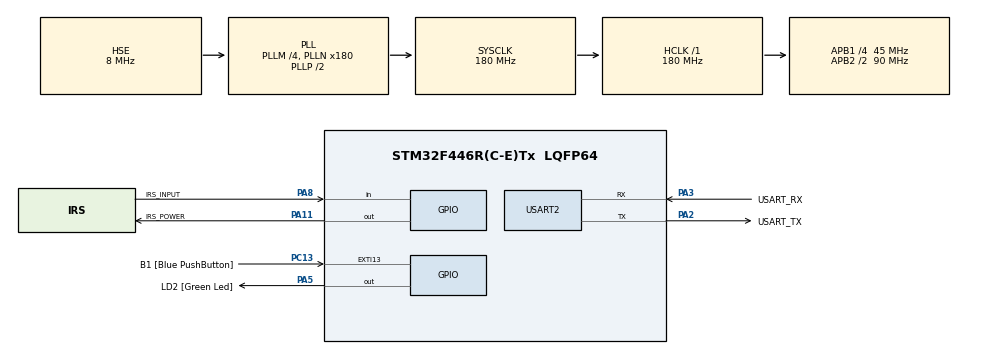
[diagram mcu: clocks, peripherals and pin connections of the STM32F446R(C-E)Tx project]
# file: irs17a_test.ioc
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Mcu.Family=STM32F4
Mcu.Name=STM32F446R(C-E)Tx
Mcu.Package=LQFP64
NVIC.PriorityGroup=NVIC_PRIORITYGROUP_0
NVIC.TIM1_UP_TIM10_IRQn=true\:0\:0\:false\:false\:true\:true\:true\:true
PA11.GPIO_Label=IRS_POWER
PA11.Signal=GPIO_Output
PA13.GPIO_Label=TMS
PA13.Mode=Serial_Wire
PA13.Signal=SYS_JTMS-SWDIO
PA14.GPIO_Label=TCK
PA14.Mode=Serial_Wire
PA14.Signal=SYS_JTCK-SWCLK
PA2.GPIO_Label=USART_TX
PA2.Mode=Asynchronous
PA2.Signal=USART2_TX
PA3.GPIO_Label=USART_RX
PA3.Mode=Asynchronous
PA3.Signal=USART2_RX
PA5.GPIO_Label=LD2 [Green Led]
PA5.Signal=GPIO_Output
PA8.GPIO_Label=IRS_INPUT
PA8.Signal=GPIO_Input
PB3.GPIO_Label=SWO
PB3.Signal=SYS_JTDO-SWO
PC13.GPIO_Label=B1 [Blue PushButton]
PC13.GPIO_ModeDefaultEXTI=GPIO_MODE_IT_FALLING
PC13.Signal=GPXTI13
PC14-OSC32_IN.Mode=LSE-External-Oscillator
PC14-OSC32_IN.Signal=RCC_OSC32_IN
PC15-OSC32_OUT.Mode=LSE-External-Oscillator
PC15-OSC32_OUT.Signal=RCC_OSC32_OUT
PH0-OSC_IN.Mode=HSE-External-Clock-Source
PH0-OSC_IN.Signal=RCC_OSC_IN
PH1-OSC_OUT.Mode=HSE-External-Clock-Source
PH1-OSC_OUT.Signal=RCC_OSC_OUT
ProjectManager.HeapSize=0x200
ProjectManager.StackSize=0x400
ProjectManager.TargetToolchain=STM32CubeIDE
RCC.48MHZClocksFreq_Value=84000000
RCC.AHBFreq_Value=180000000
RCC.APB1CLKDivider=RCC_HCLK_DIV4
RCC.APB1Freq_Value=45000000
RCC.APB1TimFreq_Value=90000000
RCC.APB2CLKDivider=RCC_HCLK_DIV2
RCC.APB2Freq_Value=90000000
RCC.APB2TimFreq_Value=180000000
RCC.CortexFreq_Value=180000000
RCC.FLatency-AdvancedSettings=FLASH_LATENCY_5
RCC.HCLKFreq_Value=180000000
RCC.HSE_VALUE=8000000
RCC.HSI_VALUE=16000000
RCC.PLLM=4
RCC.PLLN=180
RCC.PLLSourceVirtual=RCC_PLLSOURCE_HSE
RCC.SYSCLKFreq_VALUE=180000000
RCC.SYSCLKSource=RCC_SYSCLKSOURCE_PLLCLK
RCC.USBFreq_Value=180000000
RCC.VCOOutputFreq_Value=360000000
TIM10.Period=10-1
TIM10.Prescaler=18-1
USART2.VirtualMode=VM_ASYNC
VP_TIM10_VS_ClockSourceINT.Mode=Enable_Timer
board=NUCLEO-F446RE

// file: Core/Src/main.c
/* USER CODE BEGIN Header */
/**
  ******************************************************************************
  * @file           : main.c
  * @brief          : Main program body
  ******************************************************************************
  * @attention
  *
  * Copyright (c) 2023 STMicroelectronics.
  * All rights reserved.
  *
  * This software is licensed under terms that can be found in the LICENSE file
  * in the root directory of this software component.
  * If no LICENSE file comes with this software, it is provided AS-IS.
  *
  ******************************************************************************
  */
/* USER CODE END Header */
#include "main.h"

/* USER CODE BEGIN Includes */
#include "stdio.h"
#include "stdbool.h"
/* USER CODE END Includes */

TIM_HandleTypeDef htim10;

UART_HandleTypeDef huart2;

void SystemClock_Config(void);
static void MX_GPIO_Init(void);
static void MX_USART2_UART_Init(void);
static void MX_TIM10_Init(void);
/* USER CODE BEGIN PFP */
float irs19a_process(int);
/* USER CODE END PFP */

/* USER CODE BEGIN 0 */
int __io_putchar(int ch) {
    HAL_UART_Transmit(&huart2, (uint8_t *)&ch, 1, 100);
    return ch;
}
bool before_high = false;
int sensor_high_counter = 0;
int distance_data[] = {0,0,0,0,0};
/* USER CODE END 0 */

int main(void)
{

  /* MCU Configuration--------------------------------------------------------*/

  /* Reset of all peripherals, Initializes the Flash interface and the Systick. */
  HAL_Init();

  /* Configure the system clock */
  SystemClock_Config();

  /* Initialize all configured peripherals */
  MX_GPIO_Init();
  MX_USART2_UART_Init();
  MX_TIM10_Init();
  /* USER CODE BEGIN 2 */
  HAL_TIM_Base_Start_IT(&htim10);
//  HAL_TIM_IC_Start_IT(&htim1, TIM_CHANNEL_1);
//  HAL_TIM_IC_Start(&htim1, TIM_CHANNEL_2);
  HAL_GPIO_WritePin(IRS_POWER_GPIO_Port, IRS_POWER_Pin, GPIO_PIN_SET);
//  int a, b;
  /* USER CODE END 2 */

  /* Infinite loop */
  /* USER CODE BEGIN WHILE */
  while (1)
  {
//	  a = TIM1->CCR1;
//	  b = TIM1->CCR2;
//	  printf("%d, %d\n\r", a, b);
//	  HAL_Delay(10);
    /* USER CODE END WHILE */

  }
}

void SystemClock_Config(void)
{
  RCC_OscInitTypeDef RCC_OscInitStruct = {0};
  RCC_ClkInitTypeDef RCC_ClkInitStruct = {0};

  /** Configure the main internal regulator output voltage
  */
  __HAL_RCC_PWR_CLK_ENABLE();
  __HAL_PWR_VOLTAGESCALING_CONFIG(PWR_REGULATOR_VOLTAGE_SCALE1);

  /** Initializes the RCC Oscillators according to the specified parameters
  * in the RCC_OscInitTypeDef structure.
  */
  RCC_OscInitStruct.OscillatorType = RCC_OSCILLATORTYPE_HSE;
  RCC_OscInitStruct.HSEState = RCC_HSE_BYPASS;
  RCC_OscInitStruct.PLL.PLLState = RCC_PLL_ON;
  RCC_OscInitStruct.PLL.PLLSource = RCC_PLLSOURCE_HSE;
  RCC_OscInitStruct.PLL.PLLM = 4;
  RCC_OscInitStruct.PLL.PLLN = 180;
  RCC_OscInitStruct.PLL.PLLP = RCC_PLLP_DIV2;
  RCC_OscInitStruct.PLL.PLLQ = 2;
  RCC_OscInitStruct.PLL.PLLR = 2;
  if (HAL_RCC_OscConfig(&RCC_OscInitStruct) != HAL_OK)
  {
    Error_Handler();
  }

  /** Activate the Over-Drive mode
  */
  if (HAL_PWREx_EnableOverDrive() != HAL_OK)
  {
    Error_Handler();
  }

  /** Initializes the CPU, AHB and APB buses clocks
  */
  RCC_ClkInitStruct.ClockType = RCC_CLOCKTYPE_HCLK|RCC_CLOCKTYPE_SYSCLK
                              |RCC_CLOCKTYPE_PCLK1|RCC_CLOCKTYPE_PCLK2;
  RCC_ClkInitStruct.SYSCLKSource = RCC_SYSCLKSOURCE_PLLCLK;
  RCC_ClkInitStruct.AHBCLKDivider = RCC_SYSCLK_DIV1;
  RCC_ClkInitStruct.APB1CLKDivider = RCC_HCLK_DIV4;
  RCC_ClkInitStruct.APB2CLKDivider = RCC_HCLK_DIV2;

  if (HAL_RCC_ClockConfig(&RCC_ClkInitStruct, FLASH_LATENCY_5) != HAL_OK)
  {
    Error_Handler();
  }
}

static void MX_TIM10_Init(void)
{

  htim10.Instance = TIM10;
  htim10.Init.Prescaler = 18-1;
  htim10.Init.CounterMode = TIM_COUNTERMODE_UP;
  htim10.Init.Period = 10-1;
  htim10.Init.ClockDivision = TIM_CLOCKDIVISION_DIV1;
  htim10.Init.AutoReloadPreload = TIM_AUTORELOAD_PRELOAD_DISABLE;
  if (HAL_TIM_Base_Init(&htim10) != HAL_OK)
  {
    Error_Handler();
  }

}

static void MX_USART2_UART_Init(void)
{

  huart2.Instance = USART2;
  huart2.Init.BaudRate = 115200;
  huart2.Init.WordLength = UART_WORDLENGTH_8B;
  huart2.Init.StopBits = UART_STOPBITS_1;
  huart2.Init.Parity = UART_PARITY_NONE;
  huart2.Init.Mode = UART_MODE_TX_RX;
  huart2.Init.HwFlowCtl = UART_HWCONTROL_NONE;
  huart2.Init.OverSampling = UART_OVERSAMPLING_16;
  if (HAL_UART_Init(&huart2) != HAL_OK)
  {
    Error_Handler();
  }

}

static void MX_GPIO_Init(void)
{
  GPIO_InitTypeDef GPIO_InitStruct = {0};

  /* GPIO Ports Clock Enable */
  __HAL_RCC_GPIOC_CLK_ENABLE();
  __HAL_RCC_GPIOH_CLK_ENABLE();
  __HAL_RCC_GPIOA_CLK_ENABLE();
  __HAL_RCC_GPIOB_CLK_ENABLE();

  /*Configure GPIO pin Output Level */
  HAL_GPIO_WritePin(GPIOA, LD2_Pin|IRS_POWER_Pin, GPIO_PIN_RESET);

  /*Configure GPIO pin : B1_Pin */
  GPIO_InitStruct.Pin = B1_Pin;
  GPIO_InitStruct.Mode = GPIO_MODE_IT_FALLING;
  GPIO_InitStruct.Pull = GPIO_NOPULL;
  HAL_GPIO_Init(B1_GPIO_Port, &GPIO_InitStruct);

  /*Configure GPIO pins : LD2_Pin IRS_POWER_Pin */
  GPIO_InitStruct.Pin = LD2_Pin|IRS_POWER_Pin;
  GPIO_InitStruct.Mode = GPIO_MODE_OUTPUT_PP;
  GPIO_InitStruct.Pull = GPIO_NOPULL;
  GPIO_InitStruct.Speed = GPIO_SPEED_FREQ_LOW;
  HAL_GPIO_Init(GPIOA, &GPIO_InitStruct);

  /*Configure GPIO pin : IRS_INPUT_Pin */
  GPIO_InitStruct.Pin = IRS_INPUT_Pin;
  GPIO_InitStruct.Mode = GPIO_MODE_INPUT;
  GPIO_InitStruct.Pull = GPIO_NOPULL;
  HAL_GPIO_Init(IRS_INPUT_GPIO_Port, &GPIO_InitStruct);

}

/* USER CODE BEGIN 4 */
void HAL_TIM_PeriodElapsedCallback(TIM_HandleTypeDef *htim) {
	if(htim == &htim10){
    //1MHz(1usに一回)
		if(HAL_GPIO_ReadPin(IRS_INPUT_GPIO_Port, IRS_INPUT_Pin)){
			if(before_high == false){
				sensor_high_counter = 0;
				before_high = true;
				return;
			}
			sensor_high_counter++;
		}
		if(!(HAL_GPIO_ReadPin(IRS_INPUT_GPIO_Port, IRS_INPUT_Pin)) && before_high == true){
			printf("%d\n\r", sensor_high_counter);
			before_high = false;
		}
//    printf("test\n\r"); //ほんとに1usごとに割り込みできているか見たかったが、なんかうまく行っていない気がする
	}
}

float irs19a_process(int sensor_high_count){
//平均をとりたいだけ
  float ave_distance = 0.0f;
  int sum_distance_data = 0;
  for(int i = 4; i >= 0; i--){
    distance_data[i + 1] = distance_data[i];
  }
  distance_data[0] = (sensor_high_count - 271);
  for(int i = 0; i<4; i++){
    sum_distance_data += distance_data[i];
  }
  ave_distance = (float)sum_distance_data / 5.0f;
  return ave_distance;
}
/* USER CODE END 4 */

void Error_Handler(void)
{
  __disable_irq();
  while (1)
  {
  }
}
